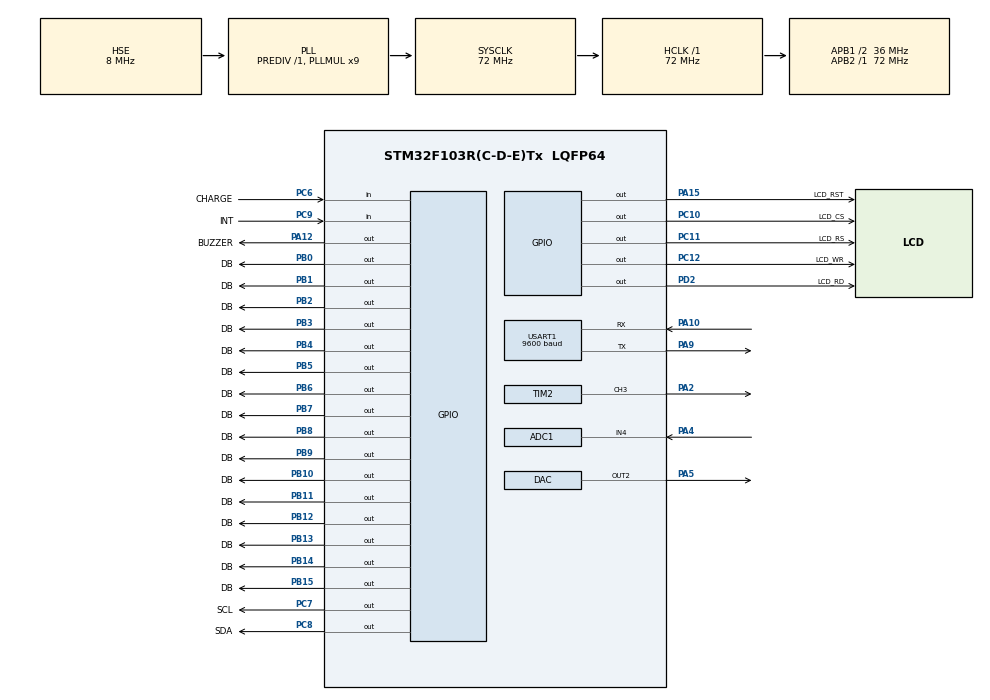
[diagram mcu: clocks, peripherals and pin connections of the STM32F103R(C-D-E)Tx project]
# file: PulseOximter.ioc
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ADC1.Channel-0\#ChannelRegularConversion=ADC_CHANNEL_4
ADC1.InjNumberOfConversion=0
ADC1.NbrOfConversionFlag=1
ADC1.Rank-0\#ChannelRegularConversion=1
ADC1.SamplingTime-0\#ChannelRegularConversion=ADC_SAMPLETIME_1CYCLE_5
ADC1.master=1
DAC.DAC_Trigger2=DAC_TRIGGER_T2_TRGO
DAC.TriangleAmplitude2=DAC_TRIANGLEAMPLITUDE_4095
DAC.WaveGeneration2=TriangleWaveGeneration
Mcu.Family=STM32F1
Mcu.Name=STM32F103R(C-D-E)Tx
Mcu.Package=LQFP64
NVIC.PriorityGroup=NVIC_PRIORITYGROUP_4
NVIC.TIM1_UP_IRQn=true\:0\:0\:false\:false\:true\:true
PA10.Mode=Asynchronous
PA10.Signal=USART1_RX
PA12.GPIO_Label=BUZZER
PA12.GPIO_ModeDefaultOutputPP=GPIO_MODE_OUTPUT_PP
PA12.GPIO_PuPd=GPIO_PULLUP
PA12.GPIO_Speed=GPIO_SPEED_FREQ_LOW
PA12.PinState=GPIO_PIN_RESET
PA12.Signal=GPIO_Output
PA13.Mode=Serial_Wire
PA13.Signal=SYS_JTMS-SWDIO
PA14.Mode=Serial_Wire
PA14.Signal=SYS_JTCK-SWCLK
PA15.GPIO_Label=LCD_RST
PA15.GPIO_ModeDefaultOutputPP=GPIO_MODE_OUTPUT_PP
PA15.GPIO_PuPd=GPIO_PULLUP
PA15.GPIO_Speed=GPIO_SPEED_FREQ_HIGH
PA15.PinState=GPIO_PIN_SET
PA15.Signal=GPIO_Output
PA2.Signal=S_TIM2_CH3
PA4.Signal=ADCx_IN4
PA5.Signal=COMP_DAC2_group
PA9.Mode=Asynchronous
PA9.Signal=USART1_TX
PB0.GPIO_Label=DB
PB0.GPIO_ModeDefaultOutputPP=GPIO_MODE_OUTPUT_PP
PB0.GPIO_PuPd=GPIO_PULLUP
PB0.GPIO_Speed=GPIO_SPEED_FREQ_HIGH
PB0.PinState=GPIO_PIN_SET
PB0.Signal=GPIO_Output
PB1.GPIO_Label=DB
PB1.GPIO_ModeDefaultOutputPP=GPIO_MODE_OUTPUT_PP
PB1.GPIO_PuPd=GPIO_PULLUP
PB1.GPIO_Speed=GPIO_SPEED_FREQ_HIGH
PB1.PinState=GPIO_PIN_SET
PB1.Signal=GPIO_Output
PB10.GPIO_Label=DB
PB10.GPIO_ModeDefaultOutputPP=GPIO_MODE_OUTPUT_PP
PB10.GPIO_PuPd=GPIO_PULLUP
PB10.GPIO_Speed=GPIO_SPEED_FREQ_HIGH
PB10.PinState=GPIO_PIN_SET
PB10.Signal=GPIO_Output
PB11.GPIO_Label=DB
PB11.GPIO_ModeDefaultOutputPP=GPIO_MODE_OUTPUT_PP
PB11.GPIO_PuPd=GPIO_PULLUP
PB11.GPIO_Speed=GPIO_SPEED_FREQ_HIGH
PB11.PinState=GPIO_PIN_SET
PB11.Signal=GPIO_Output
PB12.GPIO_Label=DB
PB12.GPIO_ModeDefaultOutputPP=GPIO_MODE_OUTPUT_PP
PB12.GPIO_PuPd=GPIO_PULLUP
PB12.GPIO_Speed=GPIO_SPEED_FREQ_HIGH
PB12.PinState=GPIO_PIN_SET
PB12.Signal=GPIO_Output
PB13.GPIO_Label=DB
PB13.GPIO_ModeDefaultOutputPP=GPIO_MODE_OUTPUT_PP
PB13.GPIO_PuPd=GPIO_PULLUP
PB13.GPIO_Speed=GPIO_SPEED_FREQ_HIGH
PB13.PinState=GPIO_PIN_SET
PB13.Signal=GPIO_Output
PB14.GPIO_Label=DB
PB14.GPIO_ModeDefaultOutputPP=GPIO_MODE_OUTPUT_PP
PB14.GPIO_PuPd=GPIO_PULLUP
PB14.GPIO_Speed=GPIO_SPEED_FREQ_HIGH
PB14.PinState=GPIO_PIN_SET
PB14.Signal=GPIO_Output
PB15.GPIO_Label=DB
PB15.GPIO_ModeDefaultOutputPP=GPIO_MODE_OUTPUT_PP
PB15.GPIO_PuPd=GPIO_PULLUP
PB15.GPIO_Speed=GPIO_SPEED_FREQ_HIGH
PB15.PinState=GPIO_PIN_SET
PB15.Signal=GPIO_Output
PB2.GPIO_Label=DB
PB2.GPIO_ModeDefaultOutputPP=GPIO_MODE_OUTPUT_PP
PB2.GPIO_PuPd=GPIO_PULLUP
PB2.GPIO_Speed=GPIO_SPEED_FREQ_HIGH
PB2.PinState=GPIO_PIN_SET
PB2.Signal=GPIO_Output
PB3.GPIO_Label=DB
PB3.GPIO_ModeDefaultOutputPP=GPIO_MODE_OUTPUT_PP
PB3.GPIO_PuPd=GPIO_PULLUP
PB3.GPIO_Speed=GPIO_SPEED_FREQ_HIGH
PB3.PinState=GPIO_PIN_SET
PB3.Signal=GPIO_Output
PB4.GPIO_Label=DB
PB4.GPIO_ModeDefaultOutputPP=GPIO_MODE_OUTPUT_PP
PB4.GPIO_PuPd=GPIO_PULLUP
PB4.GPIO_Speed=GPIO_SPEED_FREQ_HIGH
PB4.PinState=GPIO_PIN_SET
PB4.Signal=GPIO_Output
PB5.GPIO_Label=DB
PB5.GPIO_ModeDefaultOutputPP=GPIO_MODE_OUTPUT_PP
PB5.GPIO_PuPd=GPIO_PULLUP
PB5.GPIO_Speed=GPIO_SPEED_FREQ_HIGH
PB5.PinState=GPIO_PIN_SET
PB5.Signal=GPIO_Output
PB6.GPIO_Label=DB
PB6.GPIO_ModeDefaultOutputPP=GPIO_MODE_OUTPUT_PP
PB6.GPIO_PuPd=GPIO_PULLUP
PB6.GPIO_Speed=GPIO_SPEED_FREQ_HIGH
PB6.PinState=GPIO_PIN_SET
PB6.Signal=GPIO_Output
PB7.GPIO_Label=DB
PB7.GPIO_ModeDefaultOutputPP=GPIO_MODE_OUTPUT_PP
PB7.GPIO_PuPd=GPIO_PULLUP
PB7.GPIO_Speed=GPIO_SPEED_FREQ_HIGH
PB7.PinState=GPIO_PIN_SET
PB7.Signal=GPIO_Output
PB8.GPIO_Label=DB
PB8.GPIO_ModeDefaultOutputPP=GPIO_MODE_OUTPUT_PP
PB8.GPIO_PuPd=GPIO_PULLUP
PB8.GPIO_Speed=GPIO_SPEED_FREQ_HIGH
PB8.PinState=GPIO_PIN_SET
PB8.Signal=GPIO_Output
PB9.GPIO_Label=DB
PB9.GPIO_ModeDefaultOutputPP=GPIO_MODE_OUTPUT_PP
PB9.GPIO_PuPd=GPIO_PULLUP
PB9.GPIO_Speed=GPIO_SPEED_FREQ_HIGH
PB9.PinState=GPIO_PIN_SET
PB9.Signal=GPIO_Output
PC10.GPIO_Label=LCD_CS
PC10.GPIO_ModeDefaultOutputPP=GPIO_MODE_OUTPUT_PP
PC10.GPIO_PuPd=GPIO_PULLUP
PC10.GPIO_Speed=GPIO_SPEED_FREQ_HIGH
PC10.PinState=GPIO_PIN_SET
PC10.Signal=GPIO_Output
PC11.GPIO_Label=LCD_RS
PC11.GPIO_ModeDefaultOutputPP=GPIO_MODE_OUTPUT_PP
PC11.GPIO_PuPd=GPIO_PULLUP
PC11.GPIO_Speed=GPIO_SPEED_FREQ_HIGH
PC11.PinState=GPIO_PIN_SET
PC11.Signal=GPIO_Output
PC12.GPIO_Label=LCD_WR
PC12.GPIO_ModeDefaultOutputPP=GPIO_MODE_OUTPUT_PP
PC12.GPIO_PuPd=GPIO_PULLUP
PC12.GPIO_Speed=GPIO_SPEED_FREQ_HIGH
PC12.PinState=GPIO_PIN_SET
PC12.Signal=GPIO_Output
PC6.GPIO_Label=CHARGE
PC6.GPIO_PuPd=GPIO_PULLUP
PC6.Signal=GPIO_Input
PC7.GPIO_Label=SCL
PC7.GPIO_PuPd=GPIO_PULLUP
PC7.GPIO_Speed=GPIO_SPEED_FREQ_HIGH
PC7.PinState=GPIO_PIN_SET
PC7.Signal=GPIO_Output
PC8.GPIO_Label=SDA
PC8.GPIO_PuPd=GPIO_PULLUP
PC8.GPIO_Speed=GPIO_SPEED_FREQ_HIGH
PC8.PinState=GPIO_PIN_SET
PC8.Signal=GPIO_Output
PC9.GPIO_Label=INT
PC9.GPIO_PuPd=GPIO_PULLUP
PC9.Signal=GPIO_Input
PD0-OSC_IN.Mode=HSE-External-Oscillator
PD0-OSC_IN.Signal=RCC_OSC_IN
PD1-OSC_OUT.Mode=HSE-External-Oscillator
PD1-OSC_OUT.Signal=RCC_OSC_OUT
PD2.GPIO_Label=LCD_RD
PD2.GPIO_ModeDefaultOutputPP=GPIO_MODE_OUTPUT_PP
PD2.GPIO_PuPd=GPIO_PULLUP
PD2.GPIO_Speed=GPIO_SPEED_FREQ_HIGH
PD2.PinState=GPIO_PIN_SET
PD2.Signal=GPIO_Output
ProjectManager.HeapSize=0x200
ProjectManager.StackSize=0x400
ProjectManager.TargetToolchain=MDK-ARM V5
RCC.ADCPresc=RCC_ADCPCLK2_DIV6
RCC.AHBFreq_Value=72000000
RCC.APB1CLKDivider=RCC_HCLK_DIV2
RCC.APB1Freq_Value=36000000
RCC.APB1TimFreq_Value=72000000
RCC.APB2Freq_Value=72000000
RCC.APB2TimFreq_Value=72000000
RCC.HCLKFreq_Value=72000000
RCC.PLLMUL=RCC_PLL_MUL9
RCC.PLLSourceVirtual=RCC_PLLSOURCE_HSE
RCC.SYSCLKFreq_VALUE=72000000
RCC.SYSCLKSource=RCC_SYSCLKSOURCE_PLLCLK
RCC.USBFreq_Value=72000000
RTC.Date=23
RTC.Hours=20
RTC.Minutes=59
RTC.Month=RTC_MONTH_APRIL
RTC.Seconds=55
RTC.WeekDay=RTC_WEEKDAY_TUESDAY
RTC.Year=19
SH.ADCx_IN4.0=ADC1_IN4,IN4
SH.COMP_DAC2_group.0=DAC_OUT2,DAC_OUT2
SH.S_TIM2_CH3.0=TIM2_CH3,PWM Generation3 CH3
TIM1.Period=100-1
TIM1.Prescaler=7200-1
TIM2.Channel-PWM\ Generation3\ CH3=TIM_CHANNEL_3
TIM2.Period=999
TIM2.Prescaler=71
TIM2.Pulse-PWM\ Generation3\ CH3=500
TIM2.TIM_MasterOutputTrigger=TIM_TRGO_UPDATE
TIM3.Period=65535
TIM3.Prescaler=71
USART1.BaudRate=9600
USART1.VirtualMode=VM_ASYNC
VP_RTC_VS_RTC_Activate.Mode=RTC_Enabled
VP_RTC_VS_RTC_Calendar.Mode=RTC_Calendar
VP_TIM1_VS_ClockSourceINT.Mode=Internal
VP_TIM2_VS_ClockSourceITR.Mode=TriggerSource_ITR0
VP_TIM3_VS_ClockSourceINT.Mode=Internal
board=custom

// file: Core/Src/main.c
/* USER CODE BEGIN Header */
/**
  ******************************************************************************
  * @file           : main.c
  * @brief          : Main program body
  ******************************************************************************
  ** This notice applies to any and all portions of this file
  * that are not between comment pairs USER CODE BEGIN and
  * USER CODE END. Other portions of this file, whether
  * inserted by the user or by software development tools
  * are owned by their respective copyright owners.
  *
  * COPYRIGHT(c) 2019 STMicroelectronics
  *
  * Redistribution and use in source and binary forms, with or without modification,
  * are permitted provided that the following conditions are met:
  *   1. Redistributions of source code must retain the above copyright notice,
  *      this list of conditions and the following disclaimer.
  *   2. Redistributions in binary form must reproduce the above copyright notice,
  *      this list of conditions and the following disclaimer in the documentation
  *      and/or other materials provided with the distribution.
  *   3. Neither the name of STMicroelectronics nor the names of its contributors
  *      may be used to endorse or promote products derived from this software
  *      without specific prior written permission.
  *
  * THIS SOFTWARE IS PROVIDED BY THE COPYRIGHT HOLDERS AND CONTRIBUTORS "AS IS"
  * AND ANY EXPRESS OR IMPLIED WARRANTIES, INCLUDING, BUT NOT LIMITED TO, THE
  * IMPLIED WARRANTIES OF MERCHANTABILITY AND FITNESS FOR A PARTICULAR PURPOSE ARE
  * DISCLAIMED. IN NO EVENT SHALL THE COPYRIGHT HOLDER OR CONTRIBUTORS BE LIABLE
  * FOR ANY DIRECT, INDIRECT, INCIDENTAL, SPECIAL, EXEMPLARY, OR CONSEQUENTIAL
  * DAMAGES (INCLUDING, BUT NOT LIMITED TO, PROCUREMENT OF SUBSTITUTE GOODS OR
  * SERVICES; LOSS OF USE, DATA, OR PROFITS; OR BUSINESS INTERRUPTION) HOWEVER
  * CAUSED AND ON ANY THEORY OF LIABILITY, WHETHER IN CONTRACT, STRICT LIABILITY,
  * OR TORT (INCLUDING NEGLIGENCE OR OTHERWISE) ARISING IN ANY WAY OUT OF THE USE
  * OF THIS SOFTWARE, EVEN IF ADVISED OF THE POSSIBILITY OF SUCH DAMAGE.
  *
  ******************************************************************************
  */
/* USER CODE END Header */

#include "main.h"
#include "adc.h"
#include "dac.h"
#include "rtc.h"
#include "tim.h"
#include "usart.h"
#include "gpio.h"

/* USER CODE BEGIN Includes */
#include "LCD.h"
#include "FT6206.h"
#include "myiic.h"
#include <stdio.h>
#include <math.h>
#include "max30102.h"
#include "myiic.h"
#include "key.h"
/* USER CODE END Includes */

/* USER CODE BEGIN PM */

/**************************************/
/* USER CODE END PM */

/* USER CODE BEGIN PV */
//#define WK_FLASH_SIZE          128                                         // flash大小（KB）
//#define WK_FLASH_PAGE_SIZE     2                                           // 扇页大小（KB）
//#define WK_FLASH_PAGE_NUM      (WK_FLASH_SIZE/WK_FLASH_PAGE_SIZE)                // 扇页数量

//#define WK_FLASH_DATA_ADDR     (FLASH_BASE+(WK_FLASH_SIZE-WK_FLASH_PAGE_SIZE)*1024)  // 数据区的起始地址

//void Flash_DataWrite(uint16_t offsetAddr, uint64_t writeDate)
//{
//    HAL_FLASH_Unlock(); // 解锁

//    FLASH_EraseInitTypeDef f;

//    f.TypeErase = FLASH_TYPEERASE_PAGES;
//    f.Page = WK_FLASH_PAGE_NUM-1;      // 选择最后一个扇页
//    f.NbPages = 1;                  // 只擦除一页
//
//    uint32_t PageError = 0;
//    HAL_FLASHEx_Erase(&f, &PageError);  // 擦除
//
//    HAL_FLASH_Program(FLASH_TYPEPROGRAM_DOUBLEWORD, WK_FLASH_DATA_ADDR+offsetAddr, writeDate); // 写入

//    HAL_FLASH_Lock();   // 锁住
//}

//uint32_t Flash_DataRead(uint16_t offsetAddr)
//{
//    assert_param(IS_FLASH_DATA_AREA(offsetAddr));
//
//    return *(__IO uint32_t*)(WK_FLASH_DATA_ADDR+offsetAddr);
//}

void Updata_BatIco(void)
{
	if (last_charge_state != charge_state)
	{
		last_charge_state = charge_state;
		if (charge_state)
			LCD_ShowStr(187, 1, WHITE, BLACK, "電", 16);
		else
			LCD_ShowStr(187, 1, WHITE, BLACK, "箜", 16);
	}

//	uint16_t bat = (float)adc_value*0.161;
	uint16_t bat = (float)adc_value*0.24;
	if (bat > 390)
		LCD_ShowBat(210, 4, 4);
	else if (bat > 376)
		LCD_ShowBat(210, 4, 3);
	else if (bat > 367)
		LCD_ShowBat(210, 4, 2);
	else if (bat > 350)
		LCD_ShowBat(210, 4, 1);
	else
		LCD_ShowBat(210, 4, 0);
}

void Updata_Time(void)
{
	char str[10] = {0};
	HAL_RTC_GetTime(&hrtc, &Time, RTC_FORMAT_BIN);
	if (last_seconds != Time.Seconds)
	{
		last_seconds = Time.Seconds;
		sprintf(str, "%02d:%02d", Time.Hours, Time.Minutes);
		LCD_ShowStr(0, 2, WHITE, BLACK, str, 16);
	}
}

void Show_ScreenCloseTime(uint8_t time)
{
	LCD_ShowStr(133, 135, BLACK, LIGHTGRAY, "     ", 24);
	switch (time)
	{
		case 1:
			LCD_ShowStr(139, 135, BLACK, LIGHTGRAY, "30秒", 24);
			break;
		case 2:
			LCD_ShowStr(139, 135, BLACK, LIGHTGRAY, "60秒", 24);
			break;
		case 3:
			LCD_ShowStr(133, 135, BLACK, LIGHTGRAY, "100秒", 24);
			break;
		case 4:
			LCD_ShowStr(133, 135, BLACK, LIGHTGRAY, "200秒", 24);
			break;
		case 5:
			LCD_ShowStr(133, 135, BLACK, LIGHTGRAY, "500秒", 24);
			break;
		case 6:
			LCD_ShowStr(139, 135, BLACK, LIGHTGRAY, "永不", 24);
			break;
		default: break;
	}
}

void Show_TurnOffTime(uint8_t time)
{
	LCD_ShowStr(133, 170, BLACK, LIGHTGRAY, "     ", 24);
	switch (time)
	{
		case 1:
			LCD_ShowStr(139, 170, BLACK, LIGHTGRAY, "30秒", 24);
			break;
		case 2:
			LCD_ShowStr(139, 170, BLACK, LIGHTGRAY, "60秒", 24);
			break;
		case 3:
			LCD_ShowStr(133, 170, BLACK, LIGHTGRAY, "100秒", 24);
			break;
		case 4:
			LCD_ShowStr(133, 170, BLACK, LIGHTGRAY, "200秒", 24);
			break;
		case 5:
			LCD_ShowStr(133, 170, BLACK, LIGHTGRAY, "500秒", 24);
			break;
		case 6:
			LCD_ShowStr(139, 170, BLACK, LIGHTGRAY, "永不", 24);
			break;
		default: break;
	}
}

/* USER CODE END PV */

void SystemClock_Config(void);

int main(void)
{

  /* MCU Configuration--------------------------------------------------------*/

  /* Reset of all peripherals, Initializes the Flash interface and the Systick. */
  HAL_Init();

  /* Configure the system clock */
  SystemClock_Config();

  /* Initialize all configured peripherals */
  MX_GPIO_Init();
  MX_USART1_UART_Init();
  MX_TIM3_Init();
  MX_DAC_Init();
  MX_TIM2_Init();
  MX_TIM1_Init();
  MX_RTC_Init();
  MX_ADC1_Init();
  /* USER CODE BEGIN 2 */

	LCD_Init();

	printf("初始化完成\r\n");
  /* USER CODE END 2 */

  /* Infinite loop */
  /* USER CODE BEGIN WHILE */

  HAL_TIM_Base_Start_IT(&htim1);
  HAL_TIM_PWM_Start(&htim2, TIM_CHANNEL_3); // 屏幕亮度pwm

begin: ;
	LCD_Clear(WHITE);
	LCD_Fill(0, 0, 240, 18, BLACK);
	LCD_ShowStr(80, 1, WHITE, BLACK, "血氧检测仪", 16);

	/********************绘制"开始检测"按键*******************************/
	LCD_Fill(65, 268, 175, 306, GRAYBLUE);
	LCD_ShowStr(72, 275, WHITE, GRAYBLUE, "开始检测", 24);

	/********************绘制"设置"按键*******************************/
	LCD_Fill(214, 262, 240, 320, GRAYBLUE);
	LCD_ShowStr(220, 271, WHITE, GRAYBLUE, "设", 16);
	LCD_ShowStr(220, 295, WHITE, GRAYBLUE, "置", 16);

	/********************心率界面结果区域*******************************/
	LCD_Fill(0, 110, 240, 174, LGRAYBLUE); // 画背景区域
	LCD_ShowStr(5, 115, BLACK, LGRAYBLUE, "心率:    次/min ", 24);
	LCD_ShowStr(5, 145, BLACK, LGRAYBLUE, "血氧浓度:    %", 24);
	LCD_ShowPic_Heart(1); // 显示心跳图片

	LCD_DrawLine(4, 24, 4, 100, BLACK); // 画线
	LCD_DrawLine(5, 24, 5, 100, BLACK);
	LCD_DrawLine(2, 97, 238, 97, BLACK);
	LCD_DrawLine(2, 98, 238, 98, BLACK);
	/******************************************************************/
	last_seconds = 66;
	while (1) // 测一次或多次
	{
    /* USER CODE END WHILE */

    /* USER CODE BEGIN 3 */
		while (1)
		{
			// 显示充电标识
			Updata_BatIco();
			// 更新时间显示
			Updata_Time();

			/***********点击"开始检测"**********************************/
			if (ScanKey_Begin())
			{
				LCD_Fill(65, 268, 175, 306, BRRED);
				LCD_ShowStr(72, 275, WHITE, BRRED, "正在检测", 24);
				LCD_Fill(6, 25, 239, 96, WHITE);

				Max30102_Measure(); // 血氧检测，心率图绘制

				LCD_ShowNum(77, 115, BLACK, LGRAYBLUE, HeartRate_Value, 3, 24, ' ');
				LCD_ShowNum(122, 145, BLACK, LGRAYBLUE, SP02_Value, 3, 24, ' ');
				char str_temp[30];
				printf("检测完成\r\n");
				sprintf(str_temp, "心率:%d次/秒  血氧:%d%%\r\n", HeartRate_Value, SP02_Value);
				printf(str_temp);

				LCD_Fill(65, 268, 175, 306, GRAYBLUE);
				LCD_ShowStr(72, 275, WHITE, GRAYBLUE, "开始检测", 24);
			}

			/***********点击标题后显示**********************************/
			if (ScanKey_Title())
			{
				LCD_Fill(20, 60, 220, 240, LIGHTGRAY); // 窗体
				LCD_Fill(20, 60, 220, 80, DARKBLUE);   // 窗头
				LCD_ShowStr(88, 62,  WHITE, DARKBLUE, "毕设关于", 16);

				LCD_ShowStr(35, 106, BLACK, LIGHTGRAY, "制作人：甄益凡", 16);
				LCD_ShowStr(35, 130, BLACK, LIGHTGRAY, "专  业：电子信息工程", 16);
				LCD_ShowStr(35, 154, BLACK, LIGHTGRAY, "学  号：15160200314", 16);

				LCD_ShowStr(72, 275, WHITE, GRAYBLUE, " 返  回 ", 24);
				while (!ScanKey_Begin())  // 等待按下返回
				{
					Updata_BatIco();
					Updata_Time();
					char str[30] = {0};
					HAL_RTC_GetDate(&hrtc, &Date, RTC_FORMAT_BIN);
					sprintf(str, "日  期：20%02d年%02d月%02d日", Date.Year, Date.Month, Date.Date);
					LCD_ShowStr(35, 178, BLACK, LIGHTGRAY, str, 16);
					HAL_RTC_GetTime(&hrtc, &Time, RTC_FORMAT_BIN);
					sprintf(str, "时  间：%02d时%02d分%02d秒", Time.Hours, Time.Minutes, Time.Seconds);
					LCD_ShowStr(35, 202, BLACK, LIGHTGRAY, str, 16);
				}
				goto begin;
//				LCD_Fill(0, 20, 240, 270, WHITE);
//				LCD_ShowStr(72, 275, WHITE, GRAYBLUE, "开始检测", 24);
			}
			/*********点击标题后显示 结束************************************/

			/*********点击电池图标后显示电池信息************************************/
			if (ScanKey_Bat())
			{
				LCD_Fill(35, 60, 205, 240, LIGHTGRAY); // 窗体
				LCD_Fill(35, 60, 205, 80, DARKBLUE);   // 窗头
				LCD_ShowStr(88, 62,  WHITE, DARKBLUE, "电池相关", 16);

				LCD_ShowStr(60, 106, BLACK, LIGHTGRAY, "电池容量：400mA", 16);

				LCD_ShowStr(72, 275, WHITE, GRAYBLUE, " 返  回 ", 24);
				while (!ScanKey_Begin())  // 等待按下返回
				{
					Updata_BatIco();
					Updata_Time();

					char str[30];
					sprintf(str, "电池电压：%1.2fV", (float)adc_value*0.001886);
					LCD_ShowStr(60, 130, BLACK, LIGHTGRAY, str, 16);

					LCD_ShowStr(60, 154, BLACK, LIGHTGRAY, "截止电压：3.20V", 16);
					if (charge_state)
						LCD_ShowStr(60, 178, BLACK, LIGHTGRAY, "电池状态：充电中", 16);
					else
						LCD_ShowStr(60, 178, BLACK, LIGHTGRAY, "电池状态：放电中", 16);
				}
				goto begin;
//				LCD_Fill(0, 20, 240, 270, WHITE);
//				LCD_ShowStr(72, 275, WHITE, GRAYBLUE, "开始检测", 24);
			}
			/**********点击电池图标 结束***********************************/

			/**********点击设置后显示***********************************/
			if (ScanKey_Set())
			{
				LCD_Fill(20, 60, 220, 240, LIGHTGRAY); // 窗体
				LCD_Fill(20, 60, 220, 80, DARKBLUE);   // 窗头
				LCD_ShowStr(88, 62,  WHITE, DARKBLUE, "  设置  ", 16);

				LCD_ShowStr(35, 105, BLACK, LIGHTGRAY, "亮度调节：", 16);
				LCD_ShowStr(35, 140, BLACK, LIGHTGRAY, "自动息屏：", 16);
				LCD_ShowStr(35, 175, BLACK, LIGHTGRAY, "自动关机：", 16);

				LCD_Fill(115-5, 105-5, 115+8+5, 105+16+5, GRAYBLUE);
				LCD_ShowStr(115, 105, WHITE, GRAYBLUE, "-", 16);
				LCD_Fill(165-5, 105-5, 165+8+5, 105+16+5, GRAYBLUE);
				LCD_ShowStr(165, 105, LIGHTGRAY, GRAYBLUE, "+", 16);

				LCD_Fill(115-5, 140-5, 115+8+5, 140+16+5, GRAYBLUE);
				LCD_ShowStr(115, 140, WHITE, GRAYBLUE, "-", 16);
				LCD_Fill(202-5, 140-5, 202+8+5, 140+16+5, GRAYBLUE);
				LCD_ShowStr(202, 140, LIGHTGRAY, GRAYBLUE, "+", 16);

				LCD_Fill(115-5, 175-5, 115+8+5, 175+16+5, GRAYBLUE);
				LCD_ShowStr(115, 175, WHITE, GRAYBLUE, "-", 16);
				LCD_Fill(202-5, 175-5, 202+8+5, 175+16+5, GRAYBLUE);
				LCD_ShowStr(202, 175, LIGHTGRAY, GRAYBLUE, "+", 16);

				LCD_ShowStr(72, 275, WHITE, GRAYBLUE, " 返  回 ", 24);

				int8_t Light_Num = 1;
				int8_t ScreenClose_Time = 3;
				int8_t TurnOff_Time = 5;

				LCD_ShowNum(139, 100, BLACK, LIGHTGRAY, Light_Num, 1, 24, ' ');
				Show_ScreenCloseTime(ScreenClose_Time);
				Show_TurnOffTime(TurnOff_Time);

				while (!ScanKey_Begin())  // 等待按下返回
				{
					Updata_BatIco();
					Updata_Time();

					/**************控制亮度********************/
					if (ScanKey_LightAdd()) // 按下亮度增
					{
						if (Light_Num >= 9)
						{
							Light_Num = 9;
						}
						else
						{
							LCD_ShowNum(139, 100, BLACK, LIGHTGRAY, ++Light_Num, 1, 24, ' ');
							__HAL_TIM_SET_COMPARE(&htim2, TIM_CHANNEL_3, Light_Num*99);
							while (ScanKey_LightAdd()); // 等待按键松开
						}
					}
					if (ScanKey_LightSub()) // 按下亮度减
					{
						if (Light_Num <= 1)
						{
							Light_Num = 1;
						}
						else
						{
							LCD_ShowNum(139, 100, BLACK, LIGHTGRAY, --Light_Num, 1, 24, ' ');
							__HAL_TIM_SET_COMPARE(&htim2, TIM_CHANNEL_3, Light_Num*99);
							while (ScanKey_LightSub()); // 等待按键松开
						}
					}

					// 息屏时间一共分：30、60、100、200、500秒、永不
					if (ScanKey_ScreenCloseAdd())	// 按下息屏时间增
					{
						if (ScreenClose_Time >= 6)
						{
							ScreenClose_Time = 6;
						}
						else
						{
							Show_ScreenCloseTime(++ScreenClose_Time);
							while (ScanKey_ScreenCloseAdd()); // 等待按键松开
						}
					}
					if (ScanKey_ScreenCloseSub())	// 按下息屏时间减
					{
						if (ScreenClose_Time <= 1)
						{
							ScreenClose_Time = 1;
						}
						else
						{
							Show_ScreenCloseTime(--ScreenClose_Time);
							while (ScanKey_ScreenCloseSub()); // 等待按键松开
						}
					}

					// 关机时间分：30、60、100、200、500秒、永不
					if (ScanKey_TurnOffAdd())	// 按下息屏时间增
					{
						if (TurnOff_Time >= 6)
						{
							TurnOff_Time = 6;
						}
						else
						{
							Show_TurnOffTime(++TurnOff_Time);
							while (ScanKey_TurnOffAdd()); // 等待按键松开
						}
					}
					if (ScanKey_TurnOffSub())	// 按下息屏时间减
					{
						if (TurnOff_Time <= 1)
						{
							TurnOff_Time = 1;
						}
						else
						{
							Show_TurnOffTime(--TurnOff_Time);
							while (ScanKey_TurnOffSub()); // 等待按键松开
						}
					}

					/******************************************/
				}
				goto begin;
			}
			/****************点击设置 结束*****************************/
		}
	}
  /* USER CODE END 3 */
}

void SystemClock_Config(void)
{
  RCC_OscInitTypeDef RCC_OscInitStruct = {0};
  RCC_ClkInitTypeDef RCC_ClkInitStruct = {0};
  RCC_PeriphCLKInitTypeDef PeriphClkInit = {0};

  /**Initializes the CPU, AHB and APB busses clocks
  */
  RCC_OscInitStruct.OscillatorType = RCC_OSCILLATORTYPE_LSI|RCC_OSCILLATORTYPE_HSE;
  RCC_OscInitStruct.HSEState = RCC_HSE_ON;
  RCC_OscInitStruct.HSEPredivValue = RCC_HSE_PREDIV_DIV1;
  RCC_OscInitStruct.HSIState = RCC_HSI_ON;
  RCC_OscInitStruct.LSIState = RCC_LSI_ON;
  RCC_OscInitStruct.PLL.PLLState = RCC_PLL_ON;
  RCC_OscInitStruct.PLL.PLLSource = RCC_PLLSOURCE_HSE;
  RCC_OscInitStruct.PLL.PLLMUL = RCC_PLL_MUL9;
  if (HAL_RCC_OscConfig(&RCC_OscInitStruct) != HAL_OK)
  {
    Error_Handler();
  }
  /**Initializes the CPU, AHB and APB busses clocks
  */
  RCC_ClkInitStruct.ClockType = RCC_CLOCKTYPE_HCLK|RCC_CLOCKTYPE_SYSCLK
                              |RCC_CLOCKTYPE_PCLK1|RCC_CLOCKTYPE_PCLK2;
  RCC_ClkInitStruct.SYSCLKSource = RCC_SYSCLKSOURCE_PLLCLK;
  RCC_ClkInitStruct.AHBCLKDivider = RCC_SYSCLK_DIV1;
  RCC_ClkInitStruct.APB1CLKDivider = RCC_HCLK_DIV2;
  RCC_ClkInitStruct.APB2CLKDivider = RCC_HCLK_DIV1;

  if (HAL_RCC_ClockConfig(&RCC_ClkInitStruct, FLASH_LATENCY_2) != HAL_OK)
  {
    Error_Handler();
  }
  PeriphClkInit.PeriphClockSelection = RCC_PERIPHCLK_RTC|RCC_PERIPHCLK_ADC;
  PeriphClkInit.RTCClockSelection = RCC_RTCCLKSOURCE_LSI;
  PeriphClkInit.AdcClockSelection = RCC_ADCPCLK2_DIV6;
  if (HAL_RCCEx_PeriphCLKConfig(&PeriphClkInit) != HAL_OK)
  {
    Error_Handler();
  }
}

void Error_Handler(void)
{
}

/************************ (C) COPYRIGHT STMicroelectronics *****END OF FILE****/
